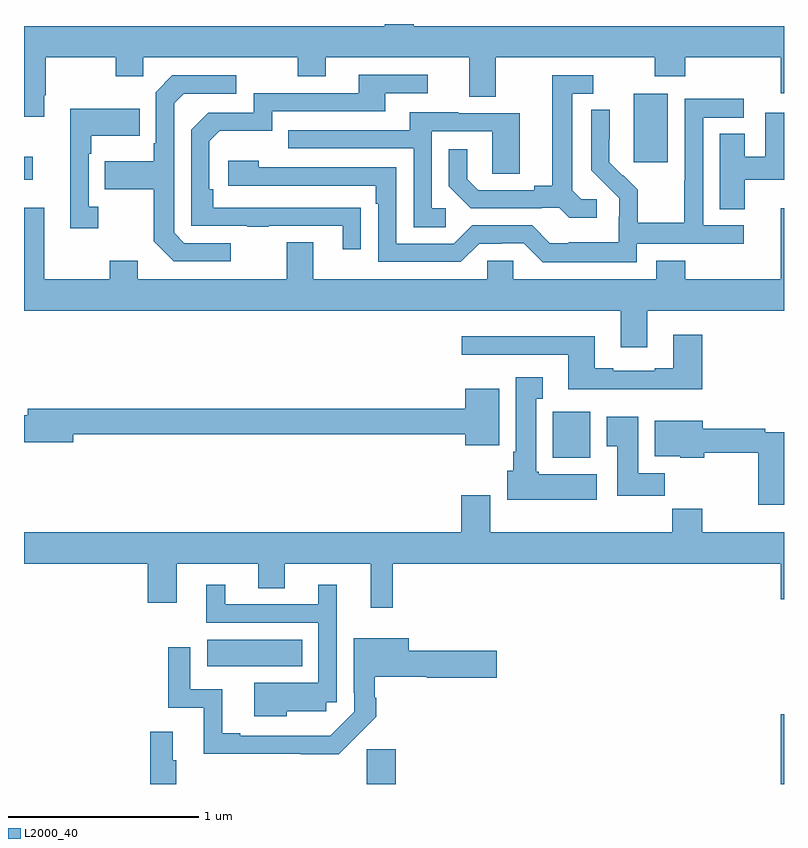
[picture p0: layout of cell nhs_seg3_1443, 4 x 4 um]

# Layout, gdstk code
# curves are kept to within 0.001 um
import gdstk
lib = gdstk.Library(unit=1e-6, precision=1e-09)
def R(c, l, rs):  # rectangles x0, y0, x1, y1
    for r in rs: c.add(gdstk.rectangle(r[:2], r[2:], *l))
def P(c, l, *ps):  # polygons
    for p in ps: c.add(gdstk.Polygon(p, *l))
L2000_40 = (2000, 40)

nhs_seg3_1443 = lib.new_cell('nhs_seg3_1443')
R(nhs_seg3_1443, L2000_40, [(186.805,722.4,186.956,722.583), (188.984,722.4,189,722.767), (185.964,723.02,186.464,723.16), (187.784,724.118,187.981,724.36), (185,725.579,185.047,725.701), (188.21,725.673,188.389,726.034)])
P(nhs_seg3_1443, L2000_40, [(185.107,726.025),(185.115,726.025),(185.115,726.224),(185.482,726.224),(185.482,726.125),(185.628,726.125),(185.628,726.224),(186.442,726.224),(186.442,726.125),(186.589,726.125),(186.589,726.224),(187.343,726.224),(187.343,726.016),(187.483,726.016),(187.483,726.224),(188.32,726.224),(188.32,726.125),(188.48,726.125),(188.48,726.224),(188.984,726.224),(188.984,726.036),(189,726.036),(189,726.388),(187.051,726.388),(187.051,726.4),(186.899,726.4),(186.899,726.388),(185,726.388),(185,725.913),(185.107,725.913)],
  [(186.773,725.432),(185.996,725.433),(185.996,725.53),(185.976,725.53),(185.976,725.784),(186.029,725.837),(186.306,725.837),(186.306,725.94),(186.901,725.94),(186.901,726.036),(187.126,726.036),(187.126,726.132),(186.761,726.132),(186.761,726.036),(186.21,726.036),(186.21,725.934),(185.97,725.934),(185.88,725.844),(185.88,725.337),(186.175,725.337),(186.175,725.332),(186.287,725.332),(186.287,725.337),(186.677,725.337),(186.677,725.214),(186.773,725.214)],
  [(186.088,725.247),(185.844,725.247),(185.79,725.301),(185.79,725.982),(185.841,726.033),(186.118,726.033),(186.118,726.129),(185.781,726.129),(185.694,726.042),(185.694,725.773),(185.682,725.773),(185.682,725.677),(185.425,725.677),(185.425,725.53),(185.682,725.53),(185.682,725.257),(185.787,725.151),(186.088,725.151)],
  [(188.014,725.478),(187.932,725.478),(187.885,725.525),(187.885,726.033),(187.996,726.033),(187.996,726.129),(187.781,726.129),(187.781,725.549),(187.685,725.549),(187.685,725.526),(187.39,725.526),(187.333,725.583),(187.333,725.74),(187.236,725.74),(187.236,725.546),(187.352,725.43),(187.724,725.43),(187.724,725.433),(187.818,725.433),(187.87,725.381),(188.014,725.381)],
  [(188.226,725.244),(188.788,725.244),(188.788,725.34),(188.574,725.34),(188.574,725.907),(188.788,725.907),(188.788,726.006),(188.478,726.006),(188.478,725.576),(188.476,725.576),(188.476,725.353),(188.231,725.353),(188.231,725.527),(188.154,725.604),(188.151,725.601),(188.081,725.672),(188.082,725.948),(187.986,725.948),(187.986,725.63),(188.132,725.482),(188.132,725.385),(188.13,725.385),(188.13,725.251),(187.867,725.251),(187.867,725.247),(187.767,725.247),(187.674,725.34),(187.359,725.34),(187.263,725.244),(186.96,725.244),(186.96,725.646),(186.236,725.646),(186.236,725.68),(186.075,725.68),(186.075,725.55),(186.851,725.55),(186.851,725.453),(186.864,725.453),(186.864,725.148),(187.299,725.148),(187.395,725.244),(187.514,725.244),(187.514,725.247),(187.629,725.247),(187.729,725.147),(188.226,725.147)],
  [(185.392,725.438),(185.34,725.438),(185.34,725.717),(185.353,725.717),(185.353,725.813),(185.609,725.813),(185.609,725.953),(185.243,725.953),(185.243,725.325),(185.392,725.325)],
  [(187.219,725.43),(187.146,725.43),(187.146,725.835),(187.464,725.835),(187.464,725.611),(187.609,725.611),(187.609,725.931),(187.285,725.931),(187.285,725.935),(187.031,725.935),(187.031,725.841),(186.391,725.841),(186.391,725.745),(187.05,725.745),(187.05,725.329),(187.219,725.329)],
  [(188.794,725.579),(189,725.579),(189,725.932),(188.9,725.932),(188.9,725.701),(188.794,725.701),(188.794,725.822),(188.663,725.822),(188.663,725.425),(188.794,725.425)],
  [(188.281,724.892),(189,724.892),(189,725.431),(188.984,725.431),(188.984,725.056),(188.48,725.056),(188.48,725.155),(188.327,725.155),(188.327,725.056),(187.575,725.056),(187.575,725.154),(187.437,725.154),(187.437,725.056),(186.523,725.056),(186.523,725.251),(186.383,725.251),(186.383,725.056),(185.599,725.056),(185.599,725.155),(185.452,725.155),(185.452,725.056),(185.107,725.056),(185.107,725.434),(185,725.434),(185,724.892),(188.141,724.892),(188.141,724.698),(188.281,724.698)],
  [(188.57,724.765),(188.417,724.765),(188.417,724.588),(188.321,724.588),(188.321,724.575),(188.101,724.575),(188.101,724.588),(188.005,724.588),(188.005,724.756),(187.305,724.756),(187.305,724.659),(187.865,724.659),(187.865,724.478),(188.57,724.478)],
  [(188.014,724.03),(187.71,724.03),(187.71,724.044),(187.696,724.044),(187.696,724.427),(187.729,724.427),(187.729,724.54),(187.589,724.54),(187.589,724.15),(187.574,724.15),(187.574,724.05),(187.544,724.05),(187.544,723.896),(188.014,723.896)],
  [(187.501,724.48),(187.322,724.48),(187.322,724.376),(185.021,724.376),(185.021,724.34),(185,724.34),(185,724.198),(185.26,724.198),(185.26,724.24),(187.322,724.24),(187.322,724.184),(187.501,724.184)],
  [(188.372,724.036),(188.233,724.036),(188.233,724.333),(188.066,724.333),(188.066,724.177),(188.123,724.177),(188.123,723.918),(188.372,723.918)],
  [(189,724.251),(188.9,724.251),(188.9,724.271),(188.572,724.271),(188.572,724.312),(188.321,724.312),(188.321,724.124),(188.454,724.124),(188.454,724.118),(188.58,724.118),(188.58,724.143),(188.864,724.143),(188.864,723.87),(189,723.87)],
  [(185,723.56),(185.651,723.56),(185.651,723.354),(185.803,723.354),(185.803,723.56),(186.233,723.56),(186.233,723.43),(186.373,723.43),(186.373,723.56),(186.824,723.56),(186.824,723.327),(186.941,723.327),(186.941,723.56),(188.984,723.56),(188.984,723.372),(189,723.372),(189,723.724),(188.57,723.724),(188.57,723.848),(188.413,723.848),(188.413,723.724),(187.453,723.724),(187.453,723.919),(187.301,723.919),(187.301,723.724),(185,723.724)],
  [(186.384,722.783),(186.591,722.783),(186.591,722.829),(186.645,722.829),(186.645,723.448),(186.548,723.448),(186.548,723.345),(186.058,723.345),(186.058,723.448),(185.96,723.448),(185.96,723.249),(186.549,723.249),(186.549,722.932),(186.212,722.932),(186.212,722.756),(186.384,722.756)],
  [(186.854,722.753),(186.854,722.855),(186.847,722.855),(186.847,722.965),(187.12,722.965),(187.12,722.96),(187.489,722.96),(187.489,723.102),(187.024,723.102),(187.024,723.166),(186.735,723.166),(186.735,722.881),(186.738,722.881),(186.738,722.781),(186.611,722.654),(186.139,722.655),(186.139,722.668),(186.043,722.668),(186.043,722.898),(185.874,722.898),(185.874,723.121),(185.758,723.121),(185.758,722.802),(185.945,722.802),(185.945,722.558),(186.457,722.558),(186.457,722.556),(186.656,722.556)],
  [(185.801,722.525),(185.782,722.525),(185.782,722.674),(185.665,722.674),(185.665,722.4),(185.801,722.4)])

lib.write_gds('nhs_seg3_1443.gds')
